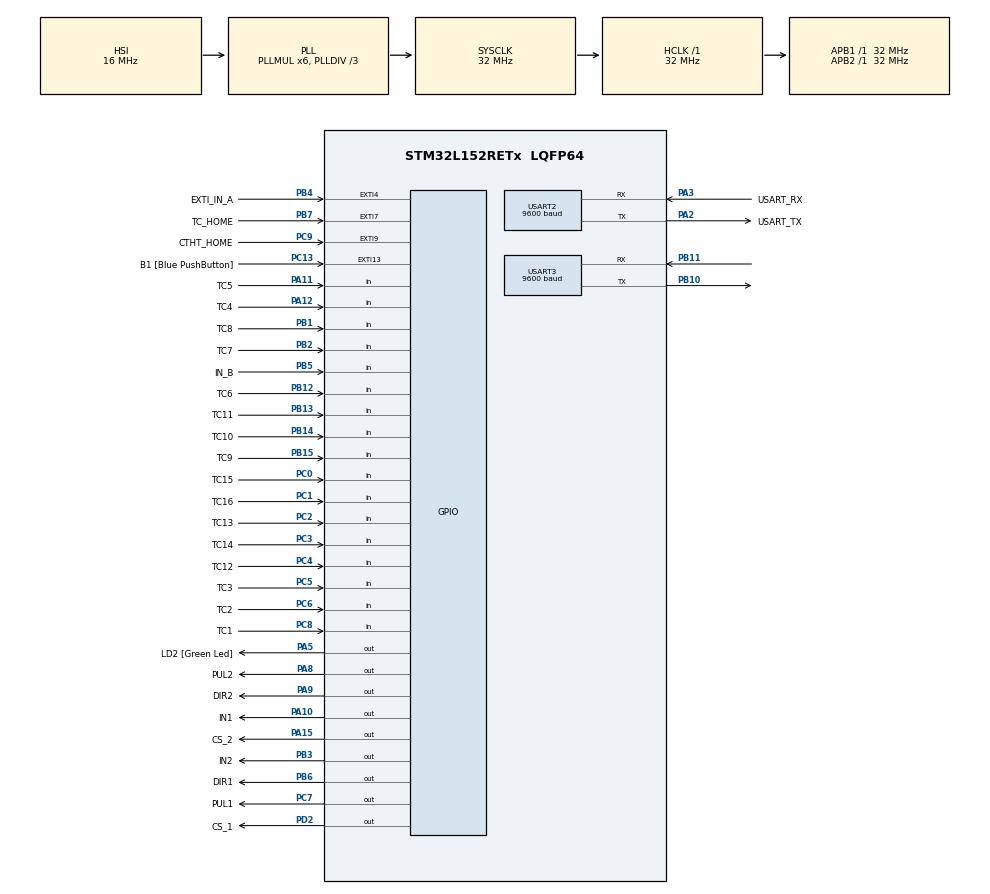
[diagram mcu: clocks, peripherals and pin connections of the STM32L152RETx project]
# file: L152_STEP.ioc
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Mcu.Family=STM32L1
Mcu.Name=STM32L152RETx
Mcu.Package=LQFP64
NVIC.EXTI4_IRQn=true\:0\:0\:false\:false\:true\:true\:true\:true
NVIC.EXTI9_5_IRQn=true\:0\:0\:false\:false\:true\:true\:true\:true
NVIC.PriorityGroup=NVIC_PRIORITYGROUP_0
NVIC.TIM2_IRQn=true\:0\:0\:false\:false\:true\:true\:true\:true
NVIC.USART2_IRQn=true\:0\:0\:false\:false\:true\:true\:true\:true
NVIC.USART3_IRQn=true\:0\:0\:false\:false\:true\:true\:true\:true
PA10.GPIO_Label=IN1
PA10.Signal=GPIO_Output
PA11.GPIO_Label=TC5
PA11.Signal=GPIO_Input
PA12.GPIO_Label=TC4
PA12.Signal=GPIO_Input
PA13.GPIO_Label=TMS
PA13.Mode=Serial_Wire
PA13.Signal=SYS_JTMS-SWDIO
PA14.GPIO_Label=TCK
PA14.Mode=Serial_Wire
PA14.Signal=SYS_JTCK-SWCLK
PA15.GPIO_Label=CS_2
PA15.Signal=GPIO_Output
PA2.GPIO_Label=USART_TX
PA2.Mode=Asynchronous
PA2.Signal=USART2_TX
PA3.GPIO_Label=USART_RX
PA3.Mode=Asynchronous
PA3.Signal=USART2_RX
PA5.GPIO_Label=LD2 [Green Led]
PA5.Signal=GPIO_Output
PA8.GPIO_Label=PUL2
PA8.GPIO_Speed=GPIO_SPEED_FREQ_VERY_HIGH
PA8.Signal=GPIO_Output
PA9.GPIO_Label=DIR2
PA9.GPIO_Speed=GPIO_SPEED_FREQ_VERY_HIGH
PA9.Signal=GPIO_Output
PB1.GPIO_Label=TC8
PB1.Signal=GPIO_Input
PB10.Mode=Asynchronous
PB10.Signal=USART3_TX
PB11.Mode=Asynchronous
PB11.Signal=USART3_RX
PB12.GPIO_Label=TC6
PB12.Signal=GPIO_Input
PB13.GPIO_Label=TC11
PB13.Signal=GPIO_Input
PB14.GPIO_Label=TC10
PB14.Signal=GPIO_Input
PB15.GPIO_Label=TC9
PB15.Signal=GPIO_Input
PB2.GPIO_Label=TC7
PB2.Signal=GPIO_Input
PB3.GPIO_Label=IN2
PB3.Signal=GPIO_Output
PB4.GPIO_Label=EXTI_IN_A
PB4.GPIO_ModeDefaultEXTI=GPIO_MODE_IT_FALLING
PB4.Signal=GPXTI4
PB5.GPIO_Label=IN_B
PB5.GPIO_PuPd=GPIO_PULLUP
PB5.Signal=GPIO_Input
PB6.GPIO_Label=DIR1
PB6.GPIO_Speed=GPIO_SPEED_FREQ_VERY_HIGH
PB6.Signal=GPIO_Output
PB7.GPIO_Label=TC_HOME
PB7.GPIO_ModeDefaultEXTI=GPIO_MODE_IT_FALLING
PB7.GPIO_PuPd=GPIO_PULLDOWN
PB7.Signal=GPXTI7
PC0.GPIO_Label=TC15
PC0.Signal=GPIO_Input
PC1.GPIO_Label=TC16
PC1.Signal=GPIO_Input
PC13-WKUP2.GPIO_Label=B1 [Blue PushButton]
PC13-WKUP2.Signal=GPXTI13
PC14-OSC32_IN.Mode=LSE-External-Oscillator
PC14-OSC32_IN.Signal=RCC_OSC32_IN
PC15-OSC32_OUT.Mode=LSE-External-Oscillator
PC15-OSC32_OUT.Signal=RCC_OSC32_OUT
PC2.GPIO_Label=TC13
PC2.Signal=GPIO_Input
PC3.GPIO_Label=TC14
PC3.Signal=GPIO_Input
PC4.GPIO_Label=TC12
PC4.Signal=GPIO_Input
PC5.GPIO_Label=TC3
PC5.Signal=GPIO_Input
PC6.GPIO_Label=TC2
PC6.Signal=GPIO_Input
PC7.GPIO_Label=PUL1
PC7.GPIO_Speed=GPIO_SPEED_FREQ_VERY_HIGH
PC7.Signal=GPIO_Output
PC8.GPIO_Label=TC1
PC8.Signal=GPIO_Input
PC9.GPIO_Label=CTHT_HOME
PC9.GPIO_ModeDefaultEXTI=GPIO_MODE_IT_RISING
PC9.GPIO_PuPd=GPIO_PULLUP
PC9.Signal=GPXTI9
PD2.GPIO_Label=CS_1
PD2.Signal=GPIO_Output
PH0-OSC_IN.Mode=HSE-External-Clock-Source
PH0-OSC_IN.Signal=RCC_OSC_IN
PH1-OSC_OUT.Signal=RCC_OSC_OUT
ProjectManager.HeapSize=0x200
ProjectManager.StackSize=0x400
ProjectManager.TargetToolchain=MDK-ARM V5.32
RCC.48MHZClocksFreq_Value=48000000
RCC.AHBFreq_Value=32000000
RCC.APB1Freq_Value=32000000
RCC.APB1TimFreq_Value=32000000
RCC.APB2Freq_Value=32000000
RCC.APB2TimFreq_Value=32000000
RCC.HCLKFreq_Value=32000000
RCC.HSE_VALUE=8000000
RCC.HSI_VALUE=16000000
RCC.MSI_VALUE=2097000
RCC.PLLDIV=RCC_PLL_DIV3
RCC.PLLMUL=RCC_PLL_MUL6
RCC.RTCClockSelectionVirtual=RCC_RTCCLKSOURCE_LSE
RCC.SYSCLKFreq_VALUE=32000000
RCC.SYSCLKSource=RCC_SYSCLKSOURCE_PLLCLK
RCC.USBOutput=48000000
RCC.VCOOutputFreq_Value=96000000
TIM2.Period=100-1
TIM2.Prescaler=32-1
USART2.BaudRate=9600
USART2.VirtualMode=VM_ASYNC
USART3.BaudRate=9600
USART3.VirtualMode=VM_ASYNC
VP_TIM2_VS_ClockSourceINT.Mode=Internal
board=NUCLEO-L152RE

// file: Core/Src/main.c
/* USER CODE BEGIN Header */
/**
 ******************************************************************************
 * @file           : main.c
 * @brief          : Main program body
 ******************************************************************************
 * @attention
 *
 * Copyright (c) 2024 STMicroelectronics.
 * All rights reserved.
 *
 * This software is licensed under terms that can be found in the LICENSE file
 * in the root directory of this software component.
 * If no LICENSE file comes with this software, it is provided AS-IS.
 *
 ******************************************************************************
 */
/* USER CODE END Header */
#include "main.h"
#include "tim.h"
#include "usart.h"
#include "gpio.h"

/* USER CODE BEGIN Includes */
#include "cell_car.h"
#include "drivenStep.h"
#include "math.h"
#include "pallet.h"
#include "stdbool.h"
#include "stdio.h"
#include "stdlib.h"
#include "stepFloor.h"
#include "stepPosition.h"
#include "string.h"
/* USER CODE END Includes */

/* USER CODE BEGIN PV */
typedef enum {
    PROCESS_RFID,
    PROCESS_FIND_EMPTY_CAR,
    PROCESS_GO_EMPTY_CAR,
    PROCESS_PALLET,
    PROCESS_PALLET_GO_OUT,    // PALLET DI RA
    PROCESS_PALLET_GO_IN,     // PALLET DI VAO
    PROCESS_INCREASE_PALLET,  // TANG PALLET
    PROCESS_DECREASE_PALLET,  // GIAM PALLET
    PROCESS_GO_IN,
    PROCESS_GO_OUT,
    PROCESS_OFF
} process_step_t;
process_step_t process_step;

stepPosition_t stepP = {};
stepFloor_t stepF = {};
extern eFloor_t floorRead;
extern ePosition_t positionRead;
uint8_t viTri = 0, soTang = 0;

uint64_t angle_floor = 0, angle_position = 0;
volatile uint64_t pulseP = 0, pulseF = 0;
uint64_t pulseStepP = 0, pulseStepF = 0;
bool flag_complete = false;

extern uint8_t CardID_I[5], lastCardID_I[5];
extern uint8_t CardID_II[5], lastCardID_II[5];
extern bool flagRFID_In, flagRFID_Out;

uint64_t time_led;
uint64_t prev_time_RFID_In = 0, prev_time_RFID_Out = 0;
volatile uint64_t prev_time_goHome = 0;

#define SIZE_DATA 128
volatile uint8_t buffer_data[SIZE_DATA] = {};
volatile uint8_t buffer_data_ESP[SIZE_DATA] = {};
uint8_t RxData, RxDataESP;
volatile uint8_t i_STM = 0, i_ESP = 0;
bool flagRx = false;
char *dataRead;  // data parse

bool changeInOut = false;
bool tc_home, ctht_home;
bool complete_home = false;
float distance = 0;

extern bool arr_car_empty[NUM_CELL];
int led = 0;

volatile int16_t encoder_read = 0;
/* USER CODE END PV */

void SystemClock_Config(void);

/* USER CODE BEGIN 0 */

void HAL_GPIO_EXTI_Callback(uint16_t GPIO_Pin) {
    if (GPIO_Pin == EXTI_IN_A_Pin) {
        if (HAL_GPIO_ReadPin(IN_B_GPIO_Port, IN_B_Pin)) {
            encoder_read--;
        } else {
            encoder_read++;
        }
    }
}

char *parseData(char *uartBuffer, uint8_t pos) {
    char *data;
    char *argv[10];
    uint8_t argvNum = 0;
    data = strtok((char *)uartBuffer, " ");

    while (data != NULL) {
        argv[argvNum] = data;
        data = strtok(NULL, " ");
        argvNum++;
    }
    if (pos > argvNum) {
        return "NULL";
    }
    return argv[pos];
}

void HAL_UART_RxCpltCallback(UART_HandleTypeDef *huart) {
    if (huart->Instance == huart2.Instance) {
        buffer_data[i_STM++] = RxData;
        if (RxData == '\n') {
            i_STM = 0;
            sscanf((char *)buffer_data, "%d %d\n", &viTri, &soTang);
            flagRx = true;
        }
        HAL_UART_Receive_IT(&huart2, &RxData, 1);
    } else if (huart->Instance == huart3.Instance) {
        buffer_data_ESP[i_ESP++] = RxDataESP;
        if (RxDataESP == '\n') {
            i_ESP = 0;
            dataRead = parseData((char *)buffer_data_ESP, 0);
            if (strcmp(dataRead, "SR") == 0) {
                dataRead = parseData((char *)buffer_data_ESP, 1);
                distance = atof(dataRead);
                // HAL_UART_Transmit(&huart2, (uint8_t *)"\nCOMPLETE",
                // sizeof("\nCOMPLETE"), 100);
            }
        }
        HAL_UART_Receive_IT(&huart3, &RxDataESP, 1);
    }
}

void HAL_TIM_PeriodElapsedCallback(TIM_HandleTypeDef *htim) {
    if (htim->Instance == htim2.Instance)  // 80us
    {
        if (pulseP != 0) {
            flag_complete = false;
            pulseP--;
            HAL_GPIO_TogglePin(PUL2_GPIO_Port, PUL2_Pin);
        }
        if (pulseF != 0) {
            flag_complete = false;
            pulseF--;
            HAL_GPIO_TogglePin(PUL1_GPIO_Port, PUL1_Pin);
        }
    }
}

/* USER CODE END 0 */

int main(void)
{

  /* MCU Configuration--------------------------------------------------------*/

  /* Reset of all peripherals, Initializes the Flash interface and the Systick. */
  HAL_Init();

  /* Configure the system clock */
  SystemClock_Config();

  /* Initialize all configured peripherals */
  MX_GPIO_Init();
  MX_USART2_UART_Init();
  MX_USART3_UART_Init();
  MX_TIM2_Init();
  /* USER CODE BEGIN 2 */

    tc_home = HAL_GPIO_ReadPin(TC_HOME_GPIO_Port, TC_HOME_Pin);
    ctht_home = HAL_GPIO_ReadPin(CTHT_HOME_GPIO_Port, CTHT_HOME_Pin);

    // INIT UART
    {
        HAL_UART_Receive_IT(&huart2, &RxData, 1);
        HAL_UART_Receive_IT(&huart3, &RxDataESP, 1);
        HAL_UART_Transmit(&huart2, (uint8_t *)"START\n", 6, 100);
    }

    // STEP CONSTRUCTOR
    {
        step_floor_ctor(&stepF, PUL1_GPIO_Port, PUL1_Pin, DIR1_GPIO_Port,
                        DIR1_Pin);
        setPulse(&stepF.inforStep, 1600);

        step_position_ctor(&stepP, PUL2_GPIO_Port, PUL2_Pin, DIR2_GPIO_Port,
                           DIR2_Pin);
        setPulse(&stepP.inforStep, 80000);
    }

    InfrStep_t const *step[] = {&stepF.inforStep, &stepP.inforStep};

    // GET INFOR PULSE STEP
    {
        pulseStepP = getPulse(&stepP.inforStep);
        pulseStepF = getPulse(&stepF.inforStep);
    }

    HAL_TIM_Base_Stop_IT(&htim2);
    go_home();
  /* USER CODE END 2 */

  /* Infinite loop */
  /* USER CODE BEGIN WHILE */
    while (1) {

        tc_home = HAL_GPIO_ReadPin(TC_HOME_GPIO_Port, TC_HOME_Pin);
        ctht_home = HAL_GPIO_ReadPin(CTHT_HOME_GPIO_Port, CTHT_HOME_Pin);
        read_E18();

        if (flagRx == true) {
			flagRx = false;
            set_floor(&stepF, soTang);
            set_position(&stepP, viTri);
            HAL_TIM_Base_Start_IT(&htim2);
        }
        angle_position = get_angle_position(&stepP);
        angle_floor = get_angle_floor(&stepF);
        if (angle_position != 0) {
            pulseP = round((float)pulseStepP * ((float)angle_position / 360.0));
            reseet_angle_position(&stepP);
        }
        if (angle_floor != 0) {
            pulseF = round((float)pulseStepF * ((float)angle_floor / 360.0));
            reset_angle_floor(&stepF);
        }
        move_to(step, sizeof(step) / sizeof(step[0]));

		if(HAL_GetTick() - time_led >= 100)
		{
			HAL_GPIO_TogglePin(LD2_GPIO_Port, LD2_Pin);
			time_led = HAL_GetTick();
		}
        // HAL_Delay(10);
    /* USER CODE END WHILE */

    }
}

void SystemClock_Config(void)
{
  RCC_OscInitTypeDef RCC_OscInitStruct = {0};
  RCC_ClkInitTypeDef RCC_ClkInitStruct = {0};

  /** Configure the main internal regulator output voltage
  */
  __HAL_PWR_VOLTAGESCALING_CONFIG(PWR_REGULATOR_VOLTAGE_SCALE1);

  /** Initializes the RCC Oscillators according to the specified parameters
  * in the RCC_OscInitTypeDef structure.
  */
  RCC_OscInitStruct.OscillatorType = RCC_OSCILLATORTYPE_HSI;
  RCC_OscInitStruct.HSIState = RCC_HSI_ON;
  RCC_OscInitStruct.HSICalibrationValue = RCC_HSICALIBRATION_DEFAULT;
  RCC_OscInitStruct.PLL.PLLState = RCC_PLL_ON;
  RCC_OscInitStruct.PLL.PLLSource = RCC_PLLSOURCE_HSI;
  RCC_OscInitStruct.PLL.PLLMUL = RCC_PLL_MUL6;
  RCC_OscInitStruct.PLL.PLLDIV = RCC_PLL_DIV3;
  if (HAL_RCC_OscConfig(&RCC_OscInitStruct) != HAL_OK)
  {
    Error_Handler();
  }

  /** Initializes the CPU, AHB and APB buses clocks
  */
  RCC_ClkInitStruct.ClockType = RCC_CLOCKTYPE_HCLK|RCC_CLOCKTYPE_SYSCLK
                              |RCC_CLOCKTYPE_PCLK1|RCC_CLOCKTYPE_PCLK2;
  RCC_ClkInitStruct.SYSCLKSource = RCC_SYSCLKSOURCE_PLLCLK;
  RCC_ClkInitStruct.AHBCLKDivider = RCC_SYSCLK_DIV1;
  RCC_ClkInitStruct.APB1CLKDivider = RCC_HCLK_DIV1;
  RCC_ClkInitStruct.APB2CLKDivider = RCC_HCLK_DIV1;

  if (HAL_RCC_ClockConfig(&RCC_ClkInitStruct, FLASH_LATENCY_1) != HAL_OK)
  {
    Error_Handler();
  }
}

void Error_Handler(void)
{
  /* USER CODE BEGIN Error_Handler_Debug */
    /* User can add his own implementation to report the HAL error return state
     */
    __disable_irq();
    while (1) {
    }
  /* USER CODE END Error_Handler_Debug */
}

#ifdef  USE_FULL_ASSERT
/**
  * @brief  Reports the name of the source file and the source line number
  *         where the assert_param error has occurred.
  * @param  file: pointer to the source file name
  * @param  line: assert_param error line source number
  * @retval None
  */
void assert_failed(uint8_t *file, uint32_t line)
{
  /* USER CODE BEGIN 6 */
    /* User can add his own implementation to report the file name and line
       number, ex: printf("Wrong parameters value: file %s on line %d\r\n",
       file, line) */
  /* USER CODE END 6 */
}
#endif /* USE_FULL_ASSERT */
